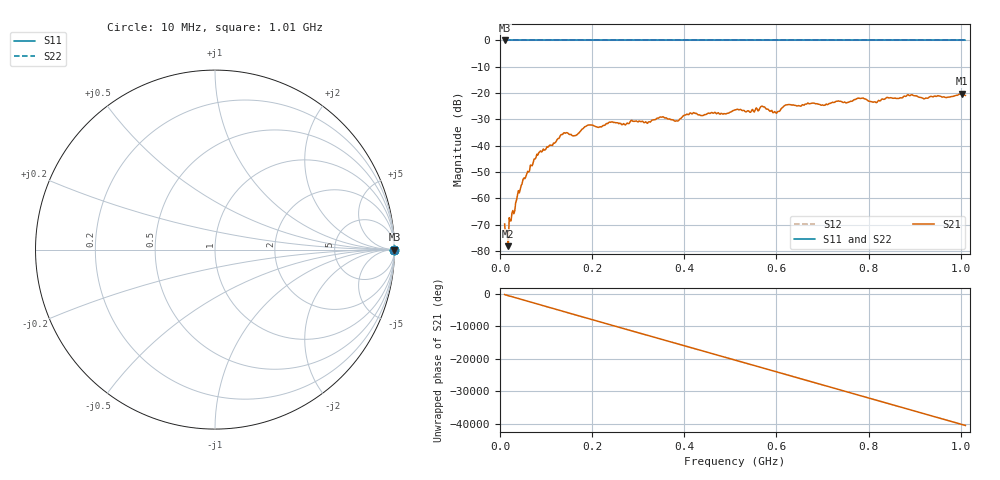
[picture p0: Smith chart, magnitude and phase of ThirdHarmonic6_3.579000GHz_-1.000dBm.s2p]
! 8/17/2025 11:52:56 AM
! C:\ANRITSUVNA\TEMP\TEMP.S2P
! CHANNEL.1
! TR.MEASUREMENT
! RAW.DATA
! RF.CORRECTION.OFF
! AVERAGING.OFF
! IF.BANDWIDTH: 5KHZ
! SWEEPTYPE:  FREQ.SWEEP(Linear)
! Reference Plane Port Info
! PORT:  PORT1  PORT2
! DISTANCE:  0  m  0  m
! TIME:  0  s  0  s
! PHASE.OFFSET:  0  deg.  0  deg.
! LOSS:  0  dB  0  dB
! REF.LOSS:  0  dB  0  dB
! REF.FREQ:  0  Hz  0  Hz
! Power Info
! POWER:  -20  dBm  -20  dBm
! EFF.POWER:  -20  dBm  -20  dBm
! SOURCE.ATTEN:  0  dB  0  dB
! TEST.ATTEN:  0  dB  0  dB
# GHZ S RI R 50.0
! FREQ.GHZ  S11RE  S11IM  S21RE  S21IM  S12RE  S12IM  S22RE  S22IM
!; PortSelection: Port_12
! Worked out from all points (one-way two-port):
!   501 points, 10 MHz to 1.01 GHz, reference 50 ohm
!   highest |S21| = -20.25 dB at 1.002 GHz (marker M1); lowest = -78.2 dB at 18 MHz (marker M2)
!   lowest |S11| = 0.0 dB at 10 MHz (marker M3)
!   |S11| at or under -10 dB: nowhere
!   |S22| runs from 0.0 to 0.0 dB; largest |S21 - S12| = 1.1
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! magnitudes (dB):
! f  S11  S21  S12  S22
! 10 MHz  0.0  -69.8  0.0  0.0
! 14 MHz  0.0  -72.0  0.0  0.0
! 18 MHz  0.0  -78.2  0.0  0.0
! 24 MHz  0.0  -68.6  0.0  0.0
! 48 MHz  0.0  -54.5  0.0  0.0
! 84 MHz  0.0  -42.7  0.0  0.0
! 136 MHz  0.0  -35.7  0.0  0.0
! 162 MHz  0.0  -36.2  0.0  0.0
! 178 MHz  0.0  -33.7  0.0  0.0
! 344 MHz  0.0  -29.6  0.0  0.0
! 384 MHz  0.0  -30.6  0.0  0.0
! 416 MHz  0.0  -27.9  0.0  0.0
! 510 MHz  0.0  -26.4  0.0  0.0
! 570 MHz  0.0  -25.1  0.0  0.0
! 596 MHz  0.0  -27.0  0.0  0.0
! 622 MHz  0.0  -24.5  0.0  0.0
! 678 MHz  0.0  -23.8  0.0  0.0
! 784 MHz  0.0  -22.0  0.0  0.0
! 814 MHz  0.0  -23.4  0.0  0.0
! 844 MHz  0.0  -21.9  0.0  0.0
! 1.002 GHz  0.0  -20.2  0.0  0.0
! 1.01 GHz  0.0  -20.9  0.0  0.0
